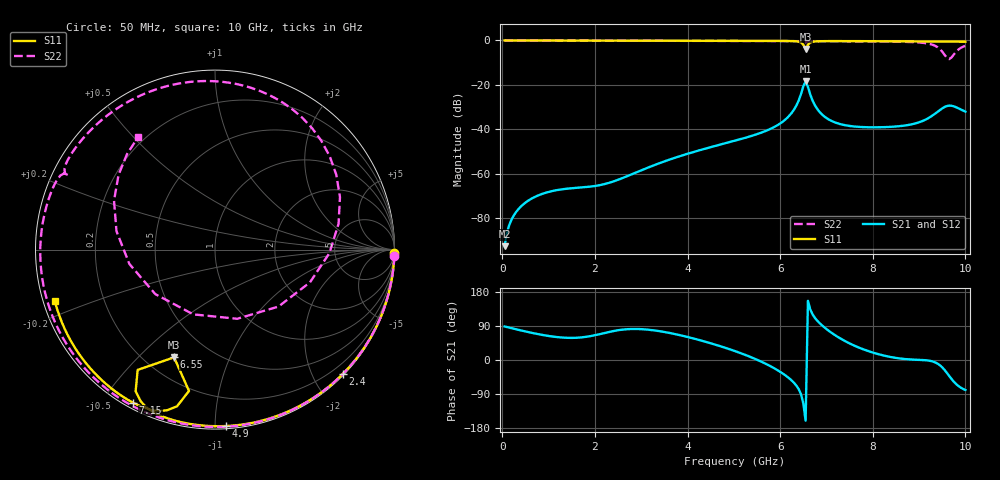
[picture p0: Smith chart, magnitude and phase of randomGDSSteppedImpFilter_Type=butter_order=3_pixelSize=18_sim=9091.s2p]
! freq	dB(S11)	phase(S11)	dB(S12)	phase(S12)
!  dB(S21)	phase(S21)	dB(S22)	phase(S22)
!S-par simulation data
#  GHz  S  DB  R 50
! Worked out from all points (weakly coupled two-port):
!   200 points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, 50 MHz to 10 GHz, reference 50 ohm
!   highest |S21| = -18.39 dB at 6.55 GHz (marker M1); lowest = -92.5 dB at 50 MHz (marker M2)
!   lowest |S11| = -3.8 dB at 6.55 GHz (marker M3), VSWR 4.59, Z = 15.7 - j32.1 ohm
!   |S11| at or under -10 dB: nowhere
!   |S22| runs from -8.4 to 0.0 dB; largest |S21 - S12| = 0
!   S11 on the Smith chart (normalised r, x): 50 MHz: open; 2.4 GHz: 0.02, -2.47; 4.9 GHz: 0.02, -1.06; 6.55 GHz: 0.31, -0.64; 7.15 GHz: 0.02, -0.60; 10 GHz: 0.03, -0.16
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0.05  -0.00 -0.9  -92.52 88.5  -92.52 88.5  -0.00 -2.1
0.2  -0.01 -3.8  -80.54 83.9  -80.54 83.9  -0.01 -8.4
0.8  -0.02 -15.0  -69.48 67.6  -69.48 67.6  -0.04 -33.0
1.75  -0.04 -32.4  -66.04 60.2  -66.04 60.2  -0.08 -69.5
2.4  -0.06 -44.1  -63.40 76.4  -63.40 76.4  -0.11 -92.1
3.4  -0.08 -61.5  -55.15 76.0  -55.15 76.0  -0.14 -123.3
4.9  -0.13 -86.5  -45.77 28.8  -45.77 28.8  -0.20 -164.4
5.05  -0.14 -88.9  -44.93 22.4  -44.93 22.4  -0.21 -168.3
6.1  -0.22 -107.0  -35.79 -39.4  -35.79 -39.4  -0.27 164.5
6.45  -0.87 -119.3  -24.15 -90.2  -24.15 -90.2  -0.40 154.4
6.55  -3.85 -110.8  -18.39 -160.2  -18.39 -160.2  -0.75 153.1
6.7  -0.59 -106.6  -27.03 120.5  -27.03 120.5  -0.37 150.0
6.9  -0.32 -113.2  -33.20 91.8  -33.20 91.8  -0.34 144.1
7.15  -0.29 -118.2  -36.57 68.3  -36.57 68.3  -0.35 137.0
8.35  -0.36 -137.1  -38.90 8.7  -38.90 8.7  -0.50 98.3
9  -0.43 -146.9  -36.81 0.5  -36.81 0.5  -0.91 64.5
9.35  -0.48 -152.2  -32.87 -6.4  -32.87 -6.4  -2.44 22.7
9.5  -0.50 -154.5  -30.55 -19.4  -30.55 -19.4  -5.04 -19.0
9.6  -0.51 -156.0  -29.49 -33.9  -29.49 -33.9  -7.85 -72.1
9.7  -0.52 -157.6  -29.36 -49.9  -29.36 -49.9  -7.64 -143.3
9.8  -0.54 -159.1  -30.03 -63.4  -30.03 -63.4  -5.06 169.4
10  -0.56 -162.3  -32.01 -79.1  -32.01 -79.1  -2.40 124.5
